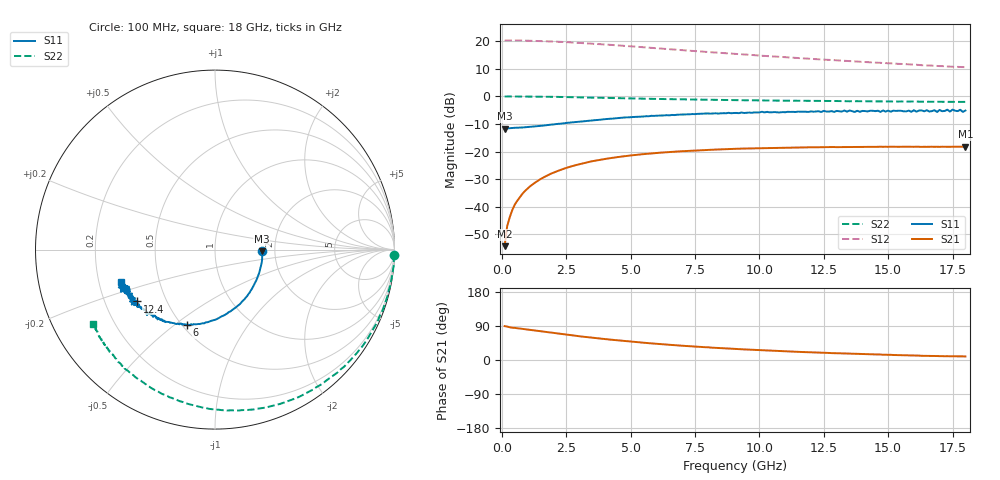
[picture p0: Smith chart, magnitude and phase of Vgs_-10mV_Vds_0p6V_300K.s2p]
#  HZ  S  DB  R  50.00
! Rohde & Schwarz ZVA50 4Ports - Version 4.11 - 1145.1110k52 SN: 100136
! Date: 2022-09-20 22:15:52
! Measurements: S11 S21 S12 S22
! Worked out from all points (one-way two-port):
!   180 points, 100 MHz to 18 GHz, reference 50 ohm
!   highest |S21| = -18.22 dB at 18 GHz (marker M1); lowest = -54.3 dB at 100 MHz (marker M2)
!   lowest |S11| = -11.7 dB at 100 MHz (marker M3), VSWR 1.70, Z = 85.1 - j1.73 ohm
!   |S11| at or under -10 dB: start of sweep to 2.138 GHz
!   |S22| runs from -2.0 to 0.0 dB; largest |S21 - S12| = 10
!   S11 on the Smith chart (normalised r, x): 100 MHz: 1.70, -0.03; 6 GHz: 0.53, -0.55; 12.4 GHz: 0.34, -0.27; 18 GHz: 0.29, -0.15
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1e8  -11.69 -2.1  -54.34 89.4  20.25 179.3  -0.03 -1.6
2e8  -11.59 -5.3  -47.08 88.3  20.29 178.3  -0.02 -3.3
4e8  -11.44 -11.1  -41.18 85.1  20.28 176.2  -0.02 -6.8
9e8  -11.17 -25.6  -34.23 81.1  20.25 171.0  -0.04 -15.3
1.4e9  -10.79 -38.6  -30.56 76.4  20.13 166.1  -0.09 -23.5
1.9e9  -10.25 -51.0  -28.05 72.1  19.95 161.2  -0.15 -31.5
2.5e9  -9.62 -64.0  -25.92 66.8  19.68 155.8  -0.25 -40.8
3.1e9  -9.09 -74.4  -24.39 61.9  19.37 150.6  -0.38 -49.5
3.9e9  -8.36 -86.9  -22.82 55.9  18.91 144.1  -0.50 -60.5
4.5e9  -7.87 -95.0  -22.00 51.8  18.52 139.8  -0.62 -68.1
5e9  -7.52 -100.8  -21.42 48.7  18.18 136.3  -0.72 -74.0
6e9  -7.00 -110.4  -20.52 42.7  17.48 130.3  -0.92 -84.6
6.1e9  -6.98 -111.1  -20.45 42.3  17.42 129.7  -0.92 -85.6
7.6e9  -6.34 -123.2  -19.60 35.1  16.37 121.9  -1.17 -99.2
9.1e9  -6.00 -130.5  -19.00 29.1  15.43 115.4  -1.34 -110.2
1.01e10  -5.57 -136.1  -18.81 25.7  14.74 111.6  -1.47 -116.8
1.21e10  -5.55 -143.6  -18.48 20.0  13.57 105.2  -1.64 -127.4
1.24e10  -5.67 -146.3  -18.41 19.2  13.42 104.2  -1.62 -128.8
1.4e10  -5.26 -152.5  -18.34 15.8  12.49 100.2  -1.74 -135.9
1.51e10  -5.56 -150.5  -18.23 13.8  12.03 97.6  -1.81 -139.4
1.58e10  -5.15 -155.0  -18.27 12.1  11.62 95.3  -1.89 -142.8
1.8e10  -5.13 -161.0  -18.22 9.3  10.62 91.5  -1.97 -148.6
